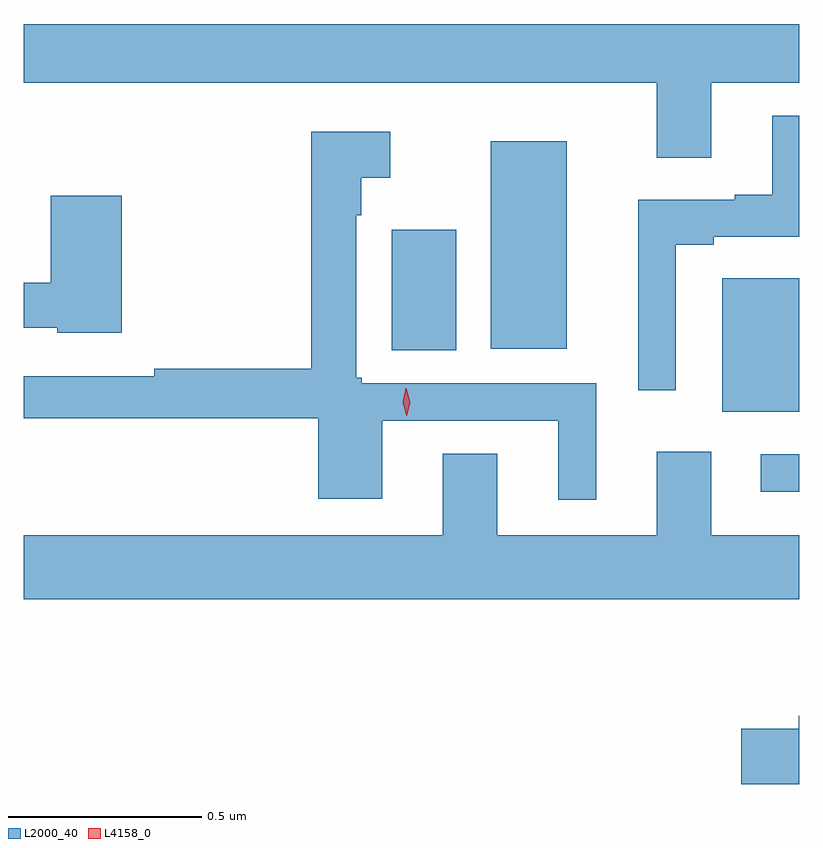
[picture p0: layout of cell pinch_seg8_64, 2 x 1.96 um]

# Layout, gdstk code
import gdstk
lib = gdstk.Library(unit=1e-6, precision=1e-09)
def R(c, l, rs):  # rectangles x0, y0, x1, y1
    for r in rs: c.add(gdstk.rectangle(r[:2], r[2:], *l))
def P(c, l, *ps):  # polygons
    for p in ps: c.add(gdstk.Polygon(p, *l))
L2000_40 = (2000, 40)
L4158_0 = (4158, 0)

pinch_seg8_64 = lib.new_cell('pinch_seg8_64')
R(pinch_seg8_64, L2000_40, [(910.641,1112.781,910.74,1112.877), (910.541,1112.987,910.74,1113.331), (909.689,1113.145,909.856,1113.457), (909.944,1113.149,910.141,1113.685)])
P(pinch_seg8_64, L2000_40, [(910.513,1113.836),(910.74,1113.836),(910.74,1113.987),(908.74,1113.987),(908.74,1113.836),(910.373,1113.836),(910.373,1113.642),(910.513,1113.642)],
  [(910.422,1113.418),(910.519,1113.418),(910.519,1113.438),(910.74,1113.438),(910.74,1113.751),(910.67,1113.751),(910.67,1113.547),(910.574,1113.547),(910.574,1113.534),(910.325,1113.534),(910.325,1113.042),(910.422,1113.042)],
  [(910.216,1113.06),(909.612,1113.06),(909.612,1113.075),(909.597,1113.075),(909.597,1113.494),(909.61,1113.494),(909.61,1113.59),(909.685,1113.59),(909.685,1113.709),(909.481,1113.709),(909.481,1113.098),(909.076,1113.098),(909.076,1113.078),(908.74,1113.078),(908.74,1112.97),(909.5,1112.97),(909.5,1112.763),(909.664,1112.763),(909.664,1112.964),(910.118,1112.964),(910.118,1112.76),(910.216,1112.76)],
  [(908.993,1113.544),(908.81,1113.544),(908.81,1113.32),(908.74,1113.32),(908.74,1113.204),(908.826,1113.204),(908.826,1113.191),(908.993,1113.191)],
  [(910.74,1112.668),(910.513,1112.668),(910.513,1112.884),(910.373,1112.884),(910.373,1112.668),(909.961,1112.668),(909.961,1112.879),(909.821,1112.879),(909.821,1112.668),(908.74,1112.668),(908.74,1112.504),(910.74,1112.504)],
  [(910.74,1112.203),(910.739,1112.203),(910.739,1112.169),(910.59,1112.169),(910.59,1112.027),(910.74,1112.027)])
P(pinch_seg8_64, L4158_0, [(909.728,1112.975),(909.728,1112.976),(909.717,1113.011),(909.725,1113.047),(909.726,1113.047),(909.726,1113.047),(909.737,1113.012),(909.728,1112.976)])

lib.write_gds('pinch_seg8_64.gds')
